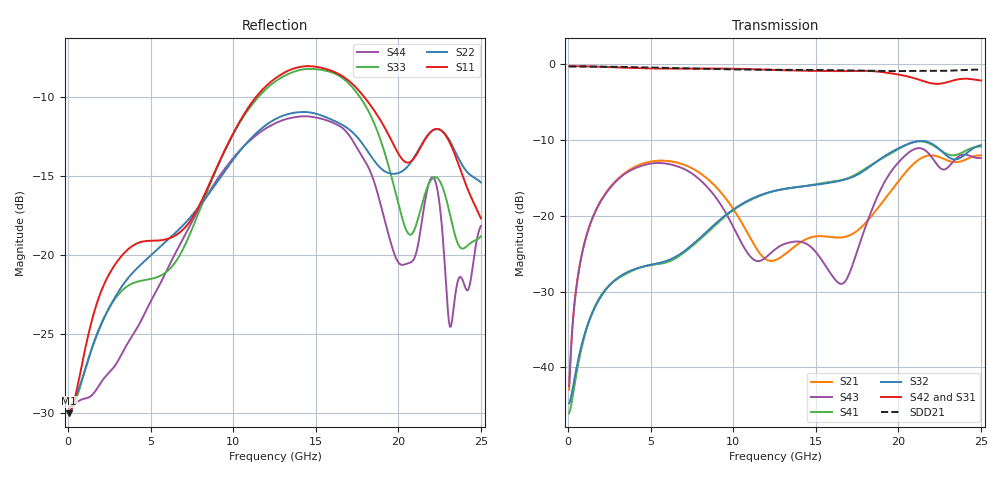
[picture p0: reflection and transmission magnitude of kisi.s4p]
! BV_ts_m2_per0_q070f25s_e35: /TS-USB4 Components/M2_PER0_P via F.Cu→In3.Cu at (161.287, 130.742) with its partner
! stackup: Thunderscope_Rev5.3 from the board file and its kisi.json
! ports: 1 P in, 2 N in, 3 P out, 4 N out
! kisi-fdtd, conformal, dfine 0.07 mm, 338580 cells
# Hz S RI R 50
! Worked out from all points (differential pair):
!   400 points, 62.5 MHz to 25 GHz, reference 50 ohm
!   strongest paths, dB at 62.5 MHz, 6.312 GHz, 12.56 GHz, 18.81 GHz, 25 GHz:
!     S42: -0.3, -0.6, -0.8, -1.0, -2.2
!     S31: -0.3, -0.6, -1.1, -1.2, -2.0
!     S32: -44.7, -25.6, -16.7, -12.7, -10.7
!     S41: -46.1, -25.8, -16.7, -12.7, -10.9
!     S43: -42.5, -13.3, -24.4, -17.1, -12.4
!     S21: -42.9, -12.9, -25.9, -18.9, -12.1
!   taken as a pair (ports 2,1 in; 4,3 out), SDD21 dB: -0.3, -0.6, -0.8, -0.9, -0.7
!   lowest |S11| = -30.0 dB at 62.5 MHz (marker M1), VSWR 1.07, Z = 46.9 + j0.265 ohm
!   |S11| at or under -10 dB: start of sweep to 11.36 GHz; 17.96 GHz to end of sweep
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6.25e7  -0.0315 0.00282  0.00634 0.00398  0.9674 -0.0196  0.00508 -0.000986
        0.00586 0.00408  -0.0331 0.00214  0.00609 -0.00128  0.9664 -0.0195
        0.9675 -0.0196  0.00568 -0.00118  -0.032 0.00275  0.00596 0.00403
        0.00487 -0.00104  0.966 -0.0194  0.00637 0.00397  -0.0329 0.00186
8.125e8  -0.0255 0.0363  0.0194 0.0504  0.9324 -0.2515  0.000731 -0.0144
         0.0198 0.0506  -0.0291 0.0275  4.53e-05 -0.014  0.9319 -0.2493
         0.9322 -0.2515  0.000452 -0.014  -0.0209 0.0336  0.0195 0.0511
         0.000885 -0.0133  0.9321 -0.2492  0.019 0.0507  -0.0246 0.0248
2.6875e9  0.0264 0.0869  0.1269 0.0983  0.6181 -0.7206  -0.0315 -0.0174
          0.1272 0.0987  0.00411 0.0711  -0.0318 -0.0181  0.6223 -0.7182
          0.6179 -0.7206  -0.0315 -0.0182  0.0545 0.0452  0.1238 0.1
          -0.0318 -0.0174  0.6223 -0.7179  0.1232 0.1002  0.0344 0.0269
9.625e9  0.1118 0.1925  0.0313 -0.1226  -0.9193 -0.0959  -0.024 0.098
         0.0317 -0.1227  0.1195 0.1463  -0.0248 0.0995  -0.9234 -0.121
         -0.9195 -0.096  -0.0246 0.0995  -0.1481 0.1651  0.0405 -0.0924
         -0.0241 0.0982  -0.9233 -0.1209  0.0402 -0.0925  -0.1573 0.1098
1.55e10  0.3884 -0.0426  0.0115 -0.0727  0.1211 0.8493  0.1583 -0.0425
         0.0115 -0.0722  0.2734 -0.0321  0.1582 -0.0393  0.1308 0.8888
         0.1213 0.8493  0.1577 -0.0393  0.381 -0.0574  0.0143 -0.047
         0.1588 -0.0431  0.1305 0.889  0.0144 -0.0462  0.2669 -0.0356
1.95625e10  0.1706 -0.1574  -0.0815 0.1198  0.851 0.0875  0.0167 -0.2567
            -0.0823 0.1201  0.1642 -0.0771  0.0338 -0.2613  0.8639 0.064
            0.8529 0.0886  0.0329 -0.2599  0.00602 -0.179  0.0134 0.1957
            0.0215 -0.2569  0.864 0.067  0.0159 0.1946  0.00355 -0.1087
2.5e10  0.0403 -0.1246  0.2445 -0.0203  0.00662 -0.8004  -0.263 0.0994
        0.2487 -0.021  0.0474 -0.1634  -0.2743 0.0749  0.00573 -0.7831
        0.00012 -0.7954  -0.2814 0.0751  -0.0214 -0.1129  0.2325 -0.0823
        -0.2663 0.1024  0.00336 -0.7776  0.2299 -0.0694  -0.0244 -0.1213
